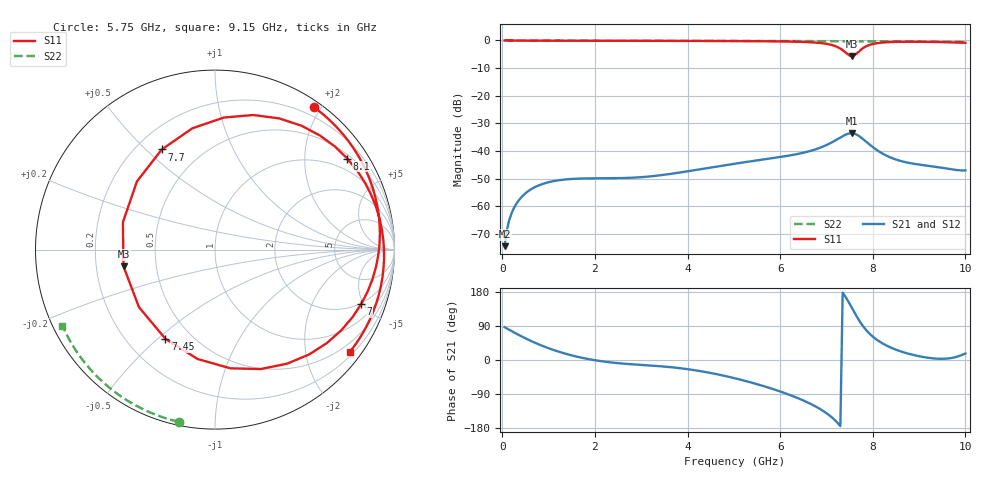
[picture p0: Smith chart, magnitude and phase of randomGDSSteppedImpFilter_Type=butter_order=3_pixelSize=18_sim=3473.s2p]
! freq	dB(S11)	phase(S11)	dB(S12)	phase(S12)
!  dB(S21)	phase(S21)	dB(S22)	phase(S22)
!S-par simulation data
#  GHz  S  DB  R 50
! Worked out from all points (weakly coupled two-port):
!   200 points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, 50 MHz to 10 GHz, reference 50 ohm
!   highest |S21| = -33.56 dB at 7.55 GHz (marker M1); lowest = -74.4 dB at 50 MHz (marker M2)
!   lowest |S11| = -5.7 dB at 7.55 GHz (marker M3), VSWR 3.15, Z = 16 - j4.11 ohm
!   |S11| at or under -10 dB: nowhere
!   |S22| runs from -0.6 to 0.0 dB; largest |S21 - S12| = 0
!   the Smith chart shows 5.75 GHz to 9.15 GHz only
!   S11 on the Smith chart (normalised r, x): 5.75 GHz: 0.08, +1.91; 7 GHz: 1.93, -4.79; 7.45 GHz: 0.36, -0.53; 7.7 GHz: 0.30, +0.56; 8.1 GHz: 0.61, +3.11; 9.15 GHz: 0.29, -2.95
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0.05  -0.00 -6.0  -74.39 86.5  -74.39 86.5  -0.00 -1.0
0.15  -0.02 -17.7  -64.94 79.6  -64.94 79.6  -0.00 -2.9
0.25  -0.04 -29.2  -60.65 73.0  -60.65 73.0  -0.01 -4.9
0.75  -0.09 -80.3  -52.67 43.2  -52.67 43.2  -0.02 -14.5
1.25  -0.11 -119.1  -50.48 20.8  -50.48 20.8  -0.03 -24.0
1.75  -0.11 -148.5  -49.90 5.1  -49.90 5.1  -0.04 -33.4
2.5  -0.12 177.3  -49.80 -8.4  -49.80 -8.4  -0.06 -47.2
3.4  -0.14 143.2  -48.78 -16.4  -48.78 -16.4  -0.08 -63.2
4.25  -0.17 112.9  -46.62 -28.8  -46.62 -28.8  -0.11 -77.7
5.05  -0.22 83.5  -44.49 -49.0  -44.49 -49.0  -0.14 -90.8
5.75  -0.30 55.3  -42.79 -73.0  -42.79 -73.0  -0.17 -101.9
6.7  -0.70 5.5  -39.71 -118.4  -39.71 -118.4  -0.23 -116.6
7  -1.22 -20.5  -37.83 -140.3  -37.83 -140.3  -0.25 -121.1
7.3  -2.94 -69.0  -35.08 -174.5  -35.08 -174.5  -0.27 -125.6
7.45  -4.90 -119.0  -33.82 159.1  -33.82 159.1  -0.28 -127.9
7.55  -5.71 -169.6  -33.56 137.6  -33.56 137.6  -0.29 -129.4
7.7  -3.99 118.0  -34.53 105.4  -34.53 105.4  -0.30 -131.6
7.85  -2.16 74.1  -36.51 80.0  -36.51 80.0  -0.32 -133.9
8.1  -0.96 34.5  -39.77 52.3  -39.77 52.3  -0.34 -137.6
8.35  -0.61 11.0  -42.09 34.9  -42.09 34.9  -0.36 -141.4
9.15  -0.51 -37.1  -45.23 6.7  -45.23 6.7  -0.45 -153.5
10  -0.84 -80.0  -46.98 17.2  -46.98 17.2  -0.56 -167.1
